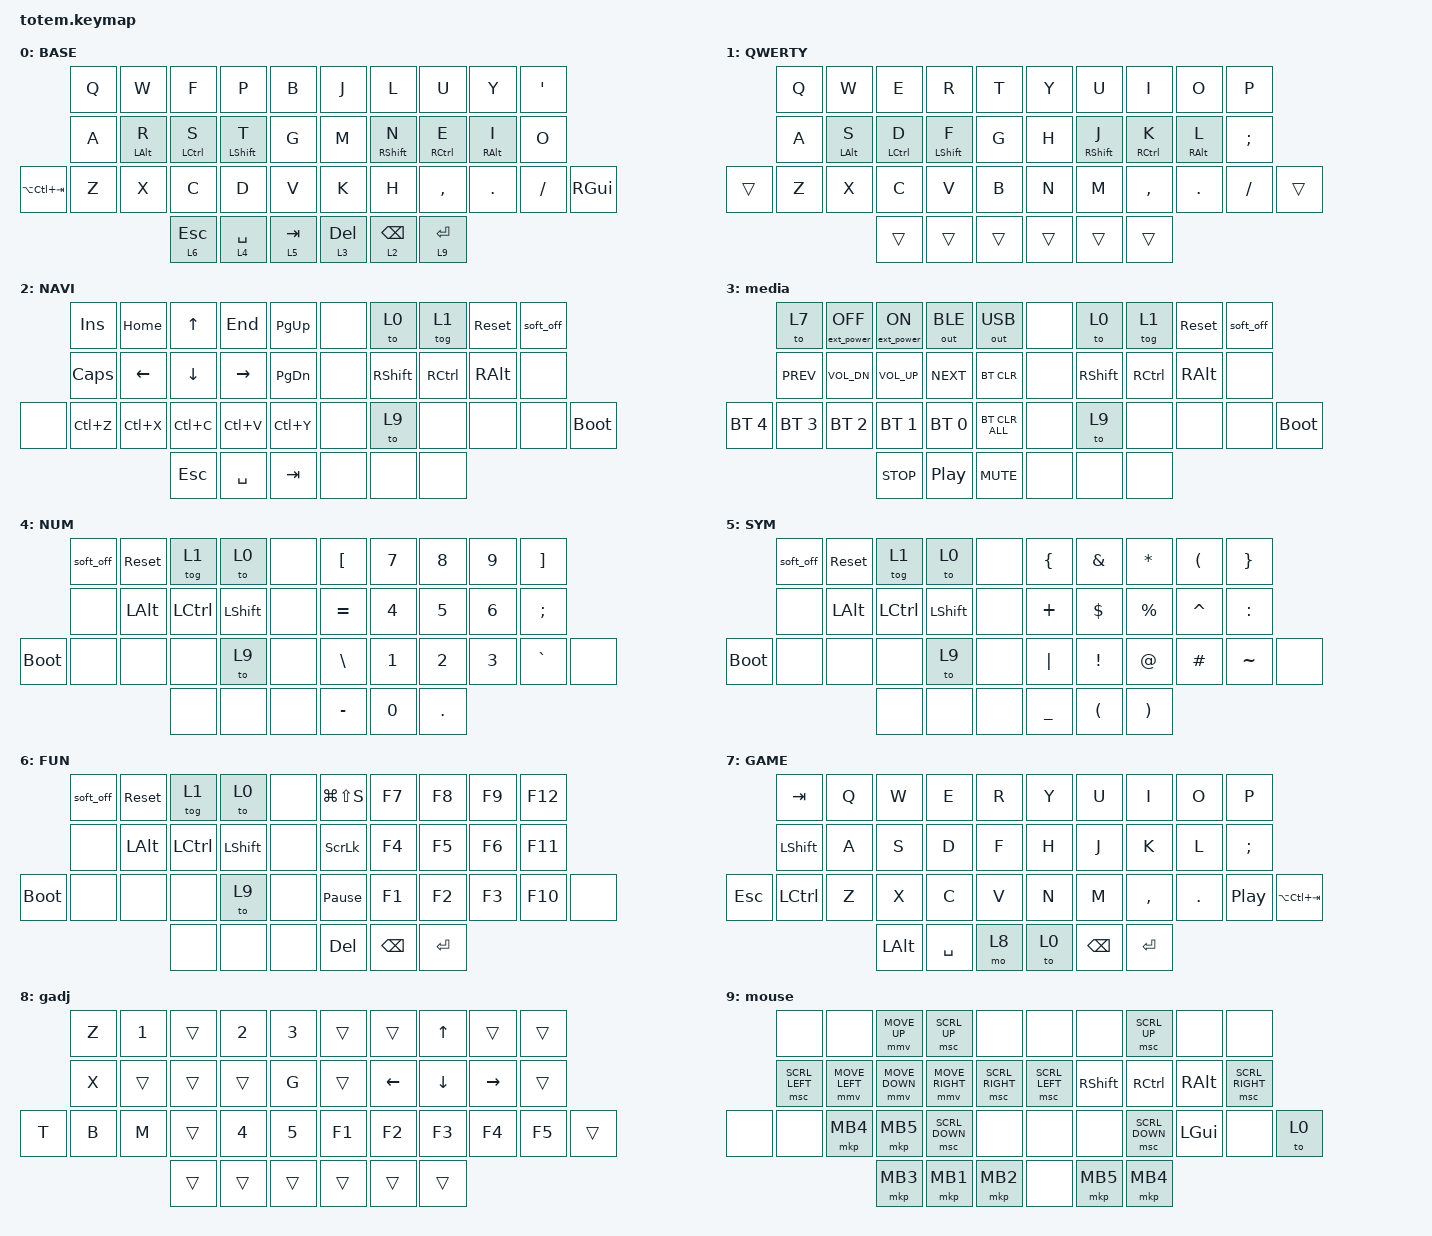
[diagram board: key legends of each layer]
//
//                                                        ▀▀▀▀▀     ▀▀▀▀▀          ▀▀█▀▀
//                                                        ▄▀▀▀▄  ▄  ▄▀▀▀▄  ▄  ▄▀▀▀▄  █  ▄▀▀▀▄
//                                                        █   █  █  █   █  █  █   █  █  █   █
//                                                         ▀▀▀   █   ▀▀▀   █   ▀▀▀   ▀   ▀▀▀
//                                                               █      ▄▄▄█▄▄▄    █   █  
//                                                               ▀      █  █  █     █▄█
//                                                             ▀▀▀▀▀    █  █  █      ▀
//                                                                      ▀  ▀  ▀
//
// ▄▄▄▄▄▄▄▄▄▄▄▄▄▄▄▄▄▄▄▄▄▄▄▄▄▄▄▄▄▄▄▄▄▄▄▄▄▄▄▄▄▄▄▄▄▄▄▄▄▄▄▄▄▄▄▄▄▄▄▄▄▄▄▄▄▄▄▄▄▄▄▄▄▄▄▄▄▄▄▄▄▄▄▄▄▄▄▄▄▄▄▄▄▄▄▄▄▄▄▄▄▄▄▄▄▄▄▄▄▄▄▄▄▄▄▄▄▄▄▄▄▄▄▄▄▄▄▄▄▄▄▄▄▄▄▄▄▄▄▄▄▄▄▄▄▄▄▄▄

#include <behaviors.dtsi>
#include <dt-bindings/zmk/bt.h>
#include <dt-bindings/zmk/ext_power.h>
#include <dt-bindings/zmk/keys.h>
#include <dt-bindings/zmk/outputs.h>
#include <dt-bindings/zmk/pointing.h>

#define ZMK_POINTING_DEFAULT_MOVE_VAL 1000

// default: 600

#define ZMK_POINTING_DEFAULT_SCRL_VAL 15

// default: 10

#define BASE 0
#define NAV  1
#define SYM  2
#define ADJ  3
#define TVP1 4
#define TVP2 5

&mt {
    quick-tap-ms = <100>;
    global-quick-tap;
    flavor = "tap-preferred";
    tapping-term-ms = <200>;
};

/ {
    combos { compatible = "zmk,combos"; };

    keymap {
        compatible = "zmk,keymap";

        // ▄▄▄▄▄▄▄▄▄▄▄▄▄▄▄▄▄▄▄▄▄▄▄▄▄▄▄▄▄▄▄▄▄▄▄▄▄▄▄▄▄▄▄▄▄▄▄▄▄▄▄▄▄▄▄▄▄▄▄▄▄▄▄▄▄▄▄▄▄▄▄▄▄▄▄▄▄▄▄▄▄▄▄▄▄▄▄▄▄▄▄▄▄▄▄▄▄▄▄▄▄▄▄▄▄▄▄▄▄▄▄▄▄▄▄▄▄▄▄▄▄▄▄▄▄▄▄▄▄▄▄▄▄▄▄▄▄▄▄▄▄▄▄▄▄▄▄▄▄

        BASE {
            // ┏━━━━━━━━━━━━━━━━━━━━━━━━━━━━━━━━━━━━━━━┓

            label = "BASE";

            // ┗━━━━━━━━━━━━━━━━━━━━━━━━━━━━━━━━━━━━━━━┛
            //             ┏━━━━━━━━━━━┳━━━━━━━━━━━┳━━━━━━━━━━━┳━━━━━━━━━━━┳━━━━━━━━━━━┓   ┏━━━━━━━━━━━┳━━━━━━━━━━━┳━━━━━━━━━━━┳━━━━━━━━━━━┳━━━━━━━━━━━┓
            //             ┃     Q     ┃     W     ┃     F     ┃     P     ┃     G     ┃   ┃     J     ┃     L     ┃     U     ┃     Y     ┃     ;     ┃
            //             ┣━━━━━━━━━━━╋━━━━━━━━━━━╋━━━━━━━━━━━╋━━━━━━━━━━━╋━━━━━━━━━━━┫   ┣━━━━━━━━━━━╋━━━━━━━━━━━╋━━━━━━━━━━━╋━━━━━━━━━━━╋━━━━━━━━━━━┫
            //             ┃     A     ┃     R     ┃     S     ┃     T     ┃     D     ┃   ┃     H     ┃     N     ┃     E     ┃     I     ┃     O     ┃
            // ┏━━━━━━━━━━━╋━━━━━━━━━━━╋━━━━━━━━━━━╋━━━━━━━━━━━╋━━━━━━━━━━━╋━━━━━━━━━━━┫   ┣━━━━━━━━━━━╋━━━━━━━━━━━╋━━━━━━━━━━━╋━━━━━━━━━━━╋━━━━━━━━━━━╋━━━━━━━━━━━┓
            // ┃     Q     ┃     Z     ┃     X     ┃     C     ┃     V     ┃     B     ┃   ┃     K     ┃     M     ┃     ,     ┃     .     ┃     /     ┃     \     ┃
            // ┗━━━━━━━━━━━┻━━━━━━━━━━━┻━━━━━━━━━━━╋━━━━━━━━━━━╋━━━━━━━━━━━╋━━━━━━━━━━━┫   ┣━━━━━━━━━━━╋━━━━━━━━━━━╋━━━━━━━━━━━╋━━━━━━━━━━━┻━━━━━━━━━━━┻━━━━━━━━━━━┛
            //                                     ┃    DEL    ┃    TAB    ┃    SPC    ┃   ┃   ENTER   ┃           ┃   BSPC    ┃
            //                                     ┗━━━━━━━━━━━┻━━━━━━━━━━━┻━━━━━━━━━━━┛   ┗━━━━━━━━━━━┻━━━━━━━━━━━┻━━━━━━━━━━━┛

            bindings = <
                 &kp Q  &kp W           &kp F        &kp P             &kp B      &kp J      &kp L              &kp U                &kp Y            &kp SQT
                 &kp A  &mt LEFT_ALT R  &mt LCTRL S  &mt LEFT_SHIFT T  &kp G      &kp M      &mt RIGHT_SHIFT N  &mt RIGHT_CONTROL E  &mt RIGHT_ALT I  &kp O
&kp LA(LC(TAB))  &kp Z  &kp X           &kp C        &kp D             &kp V      &kp K      &kp H              &kp COMMA            &kp DOT          &kp FSLH  &kp RIGHT_GUI
                                        &lt 6 ESC    &lt 4 SPACE       &lt 5 TAB  &lt 3 DEL  &lt 2 BACKSPACE    &lt 9 ENTER
            >;
        };

        QWERTY {
            bindings = <
        &kp Q  &kp W           &kp E               &kp R             &kp T   &kp Y   &kp U              &kp I                &kp O            &kp P
        &kp A  &mt LEFT_ALT S  &mt LEFT_CONTROL D  &mt LEFT_SHIFT F  &kp G   &kp H   &mt RIGHT_SHIFT J  &mt RIGHT_CONTROL K  &mt RIGHT_ALT L  &kp SEMICOLON
&trans  &kp Z  &kp X           &kp C               &kp V             &kp B   &kp N   &kp M              &kp COMMA            &kp PERIOD       &kp SLASH      &trans
                               &trans              &trans            &trans  &trans  &trans             &trans
            >;

            label = "QWERTY";
        };

        nav_layer {
            // ┏━━━━━━━━━━━━━━━━━━━━━━━━━━━━━━━━━━━━━━━┓

            label = "NAVI";

            // ┗━━━━━━━━━━━━━━━━━━━━━━━━━━━━━━━━━━━━━━━┛
            //             ┏━━━━━━━━━━━┳━━━━━━━━━━━┳━━━━━━━━━━━┳━━━━━━━━━━━┳━━━━━━━━━━━┓   ┏━━━━━━━━━━━┳━━━━━━━━━━━┳━━━━━━━━━━━┳━━━━━━━━━━━┳━━━━━━━━━━━┓
            //             ┃           ┃           ┃     UP    ┃           ┃     {     ┃   ┃     }     ┃     7     ┃     8     ┃     9     ┃     +     ┃
            //             ┣━━━━━━━━━━━╋━━━━━━━━━━━╋━━━━━━━━━━━╋━━━━━━━━━━━╋━━━━━━━━━━━┫   ┣━━━━━━━━━━━╋━━━━━━━━━━━╋━━━━━━━━━━━╋━━━━━━━━━━━╋━━━━━━━━━━━┫
            //             ┃   SHIFT   ┃   LEFT    ┃    DOWN   ┃   RIGHT   ┃     [     ┃   ┃     ]     ┃     4     ┃     5     ┃     6     ┃     -     ┃
            // ┏━━━━━━━━━━━╋━━━━━━━━━━━╋━━━━━━━━━━━╋━━━━━━━━━━━╋━━━━━━━━━━━╋━━━━━━━━━━━┫   ┣━━━━━━━━━━━╋━━━━━━━━━━━╋━━━━━━━━━━━╋━━━━━━━━━━━╋━━━━━━━━━━━╋━━━━━━━━━━━┓
            // ┃           ┃           ┃   P UP    ┃  C LOCK   ┃  P DOWN   ┃     (     ┃   ┃     )     ┃     1     ┃     2     ┃     3     ┃     *     ┃           ┃
            // ┗━━━━━━━━━━━┻━━━━━━━━━━━┻━━━━━━━━━━━╋━━━━━━━━━━━╋━━━━━━━━━━━╋━━━━━━━━━━━┫   ┣━━━━━━━━━━━╋━━━━━━━━━━━╋━━━━━━━━━━━╋━━━━━━━━━━━┻━━━━━━━━━━━┻━━━━━━━━━━━┛
            //                                     ┃           ┃    TAB    ┃    SPC    ┃   ┃    DEL    ┃     0     ┃           ┃
            //                                     ┗━━━━━━━━━━━┻━━━━━━━━━━━┻━━━━━━━━━━━┛   ┗━━━━━━━━━━━┻━━━━━━━━━━━┻━━━━━━━━━━━┛

            bindings = <
       &kp INS    &kp HOME   &kp UP     &kp END    &kp PG_UP      &none  &to 0            &tog 1     &sys_reset  &soft_off
       &kp CAPS   &kp LEFT   &kp DOWN   &kp RIGHT  &kp PAGE_DOWN  &none  &kp RIGHT_SHIFT  &kp RCTRL  &kp RALT    &none
&none  &kp LC(Z)  &kp LC(X)  &kp LC(C)  &kp LC(V)  &kp LC(Y)      &none  &to 9            &none      &none       &none      &bootloader
                             &kp ESC    &kp SPACE  &kp TAB        &none  &none            &none
            >;
        };

        media_layer {
            bindings = <
              &to 7         &ext_power EP_OFF  &ext_power EP_ON  &out OUT_BLE      &out OUT_USB    &none  &to 0            &tog 1     &sys_reset  &soft_off
              &kp C_PREV    &kp C_VOL_DN       &kp C_VOLUME_UP   &kp C_NEXT        &bt BT_CLR      &none  &kp RIGHT_SHIFT  &kp RCTRL  &kp RALT    &none
&bt BT_SEL 4  &bt BT_SEL 3  &bt BT_SEL 2       &bt BT_SEL 1      &bt BT_SEL 0      &bt BT_CLR_ALL  &none  &to 9            &none      &none       &none      &bootloader
                                               &kp C_STOP        &kp C_PLAY_PAUSE  &kp C_MUTE      &none  &none            &none
            >;

            label = "media";
        };

        number_layer {
            bindings = <
             &soft_off  &sys_reset    &tog 1            &to 0      &none  &kp LEFT_BRACKET  &kp N7        &kp N8        &kp N9        &kp RIGHT_BRACKET
             &none      &kp LEFT_ALT  &kp LEFT_CONTROL  &kp LSHFT  &none  &kp EQUAL         &kp NUMBER_4  &kp N5        &kp NUMBER_6  &kp SEMI
&bootloader  &none      &none         &none             &to 9      &none  &kp BACKSLASH     &kp NUMBER_1  &kp NUMBER_2  &kp NUMBER_3  &kp GRAVE          &none
                                      &none             &none      &none  &kp MINUS         &kp N0        &kp PERIOD
            >;

            label = "NUM";
        };

        sym_layer {
            // ┏━━━━━━━━━━━━━━━━━━━━━━━━━━━━━━━━━━━━━━━┓

            label = "SYM";

            // ┗━━━━━━━━━━━━━━━━━━━━━━━━━━━━━━━━━━━━━━━┛
            //             ┏━━━━━━━━━━━┳━━━━━━━━━━━┳━━━━━━━━━━━┳━━━━━━━━━━━┳━━━━━━━━━━━┓   ┏━━━━━━━━━━━┳━━━━━━━━━━━┳━━━━━━━━━━━┳━━━━━━━━━━━┳━━━━━━━━━━━┓
            //             ┃     !     ┃     @     ┃     #     ┃     $     ┃     %     ┃   ┃     ˆ     ┃     &     ┃     Ü     ┃     '     ┃     "     ┃
            //             ┣━━━━━━━━━━━╋━━━━━━━━━━━╋━━━━━━━━━━━╋━━━━━━━━━━━╋━━━━━━━━━━━┫   ┣━━━━━━━━━━━╋━━━━━━━━━━━╋━━━━━━━━━━━╋━━━━━━━━━━━╋━━━━━━━━━━━┫
            //             ┃     Ä     ┃           ┃    SZ     ┃           ┃           ┃   ┃   MUTE    ┃   YEN     ┃   EURO    ┃  POUND    ┃     Ö     ┃
            // ┏━━━━━━━━━━━╋━━━━━━━━━━━╋━━━━━━━━━━━╋━━━━━━━━━━━╋━━━━━━━━━━━╋━━━━━━━━━━━┫   ┣━━━━━━━━━━━╋━━━━━━━━━━━╋━━━━━━━━━━━╋━━━━━━━━━━━╋━━━━━━━━━━━╋━━━━━━━━━━━┓
            // ┃           ┃  EMAIL1   ┃  EMAIL2   ┃           ┃           ┃           ┃   ┃   VOL-    ┃   VOL+    ┃   LAST    ┃   NEXT    ┃     \     ┃           ┃
            // ┗━━━━━━━━━━━┻━━━━━━━━━━━┻━━━━━━━━━━━╋━━━━━━━━━━━╋━━━━━━━━━━━╋━━━━━━━━━━━┫   ┣━━━━━━━━━━━╋━━━━━━━━━━━╋━━━━━━━━━━━╋━━━━━━━━━━━┻━━━━━━━━━━━┻━━━━━━━━━━━┛
            //                                     ┃           ┃    GIF    ┃    ADJ    ┃   ┃           ┃           ┃           ┃
            //                                     ┗━━━━━━━━━━━┻━━━━━━━━━━━┻━━━━━━━━━━━┛   ┗━━━━━━━━━━━┻━━━━━━━━━━━┻━━━━━━━━━━━┛

            bindings = <
             &soft_off  &sys_reset    &tog 1            &to 0      &none  &kp LEFT_BRACE  &kp AMPERSAND         &kp ASTERISK           &kp LEFT_PARENTHESIS  &kp RIGHT_BRACE
             &none      &kp LEFT_ALT  &kp LEFT_CONTROL  &kp LSHFT  &none  &kp PLUS        &kp DOLLAR            &kp PERCENT            &kp CARET             &kp COLON
&bootloader  &none      &none         &none             &to 9      &none  &kp PIPE        &kp EXCL              &kp AT_SIGN            &kp HASH              &kp TILDE        &none
                                      &none             &none      &none  &kp UNDERSCORE  &kp LEFT_PARENTHESIS  &kp RIGHT_PARENTHESIS
            >;
        };

        fun_layer {
            // ┏━━━━━━━━━━━━━━━━━━━━━━━━━━━━━━━━━━━━━━━┓

            label = "FUN";

            // ┗━━━━━━━━━━━━━━━━━━━━━━━━━━━━━━━━━━━━━━━┛
            //             ┏━━━━━━━━━━━┳━━━━━━━━━━━┳━━━━━━━━━━━┳━━━━━━━━━━━┳━━━━━━━━━━━┓   ┏━━━━━━━━━━━┳━━━━━━━━━━━┳━━━━━━━━━━━┳━━━━━━━━━━━┳━━━━━━━━━━━┓
            //             ┃   RESET   ┃ BT CLEAR  ┃  OUT TOG  ┃           ┃           ┃   ┃           ┃    F7     ┃    F8     ┃    F9     ┃    F12    ┃
            //             ┣━━━━━━━━━━━╋━━━━━━━━━━━╋━━━━━━━━━━━╋━━━━━━━━━━━╋━━━━━━━━━━━┫   ┣━━━━━━━━━━━╋━━━━━━━━━━━╋━━━━━━━━━━━╋━━━━━━━━━━━╋━━━━━━━━━━━┫
            //             ┃ BOOTLOAD  ┃ BT NEXT   ┃           ┃           ┃           ┃   ┃           ┃    F4     ┃    F5     ┃    F6     ┃    F11    ┃
            // ┏━━━━━━━━━━━╋━━━━━━━━━━━╋━━━━━━━━━━━╋━━━━━━━━━━━╋━━━━━━━━━━━╋━━━━━━━━━━━┫   ┣━━━━━━━━━━━╋━━━━━━━━━━━╋━━━━━━━━━━━╋━━━━━━━━━━━╋━━━━━━━━━━━╋━━━━━━━━━━━┓
            // ┃           ┃           ┃ BT PREV   ┃           ┃           ┃           ┃   ┃           ┃    F1     ┃    F2     ┃    F3     ┃    F10    ┃           ┃
            // ┗━━━━━━━━━━━┻━━━━━━━━━━━┻━━━━━━━━━━━╋━━━━━━━━━━━╋━━━━━━━━━━━╋━━━━━━━━━━━┫   ┣━━━━━━━━━━━╋━━━━━━━━━━━╋━━━━━━━━━━━╋━━━━━━━━━━━┻━━━━━━━━━━━┻━━━━━━━━━━━┛
            //                                     ┃           ┃           ┃           ┃   ┃           ┃           ┃           ┃
            //                                     ┗━━━━━━━━━━━┻━━━━━━━━━━━┻━━━━━━━━━━━┛   ┗━━━━━━━━━━━┻━━━━━━━━━━━┻━━━━━━━━━━━┛

            bindings = <
             &soft_off  &sys_reset  &tog 1     &to 0      &none  &kp LG(LS(S))    &kp F7         &kp F8     &kp F9  &kp F12
             &none      &kp LALT    &kp LCTRL  &kp LSHFT  &none  &kp SCROLLLOCK   &kp F4         &kp F5     &kp F6  &kp F11
&bootloader  &none      &none       &none      &to 9      &none  &kp PAUSE_BREAK  &kp F1         &kp F2     &kp F3  &kp F10  &none
                                    &none      &none      &none  &kp DEL          &kp BACKSPACE  &kp ENTER
            >;
        };

        GAME {
            bindings = <
            &kp TAB    &kp Q  &kp W     &kp E      &kp R  &kp Y  &kp U     &kp I      &kp O       &kp P
            &kp LSHFT  &kp A  &kp S     &kp D      &kp F  &kp H  &kp J     &kp K      &kp L       &kp SEMICOLON
&kp ESCAPE  &kp LCTRL  &kp Z  &kp X     &kp C      &kp V  &kp N  &kp M     &kp COMMA  &kp PERIOD  &kp C_PP       &kp LA(LC(TAB))
                              &kp LALT  &kp SPACE  &mo 8  &to 0  &kp BSPC  &kp ENTER
            >;

            label = "GAME";
        };

        GAME_ADJ {
            bindings = <
       &kp Z  &kp NUMBER_1  &trans  &kp NUMBER_2  &kp NUMBER_3  &trans  &trans    &kp UP_ARROW  &trans     &trans
       &kp X  &trans        &trans  &trans        &kp G         &trans  &kp LEFT  &kp DOWN      &kp RIGHT  &trans
&kp T  &kp B  &kp M         &trans  &kp NUMBER_4  &kp NUMBER_5  &kp F1  &kp F2    &kp F3        &kp F4     &kp F5  &trans
                            &trans  &trans        &trans        &trans  &trans    &trans
            >;

            label = "gadj";
        };

        mouse {
            bindings = <
       &none           &none           &mmv MOVE_UP    &msc SCRL_UP     &none            &none           &none            &msc SCRL_UP       &none          &none
       &msc SCRL_LEFT  &mmv MOVE_LEFT  &mmv MOVE_DOWN  &mmv MOVE_RIGHT  &msc SCRL_RIGHT  &msc SCRL_LEFT  &kp RIGHT_SHIFT  &kp RIGHT_CONTROL  &kp RIGHT_ALT  &msc SCRL_RIGHT
&none  &none           &mkp MB4        &mkp MB5        &msc SCRL_DOWN   &none            &none           &none            &msc SCRL_DOWN     &kp LEFT_GUI   &none            &to 0
                                       &mkp MB3        &mkp MB1         &mkp MB2         &none           &mkp MB5         &mkp MB4
            >;
        };
    };

    conditional_layers { compatible = "zmk,conditional-layers"; };
};
